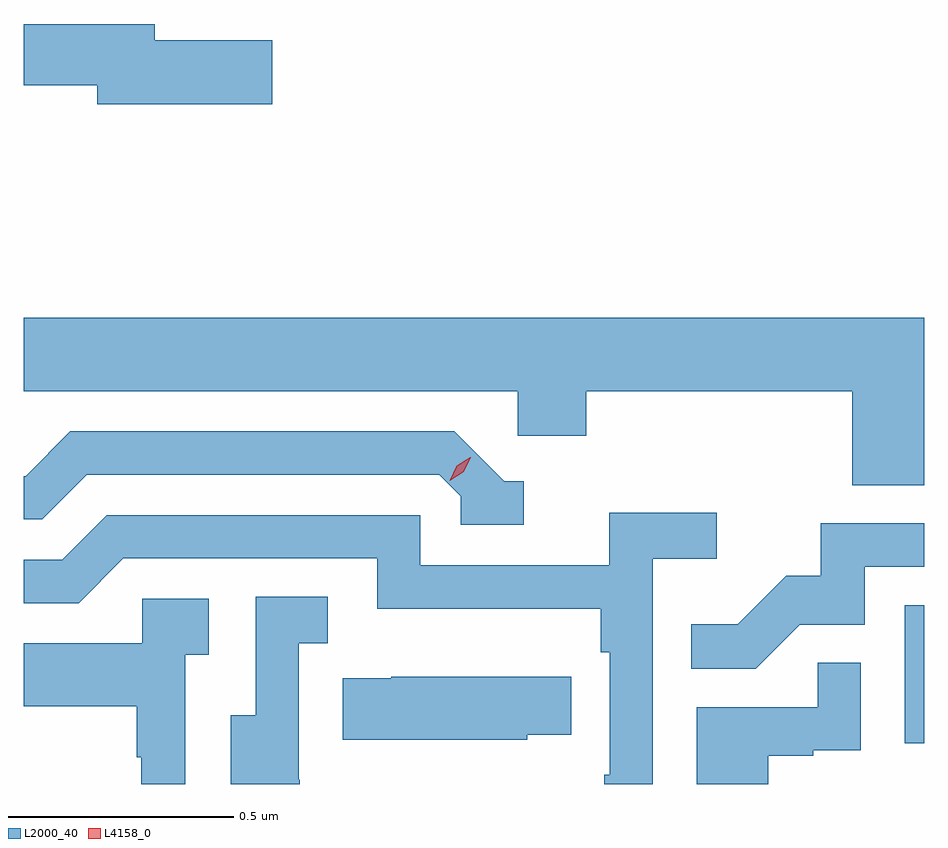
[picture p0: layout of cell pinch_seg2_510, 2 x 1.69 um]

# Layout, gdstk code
import gdstk
lib = gdstk.Library(unit=1e-6, precision=1e-09)
def R(c, l, rs):  # rectangles x0, y0, x1, y1
    for r in rs: c.add(gdstk.rectangle(r[:2], r[2:], *l))
def P(c, l, *ps):  # polygons
    for p in ps: c.add(gdstk.Polygon(p, *l))
L2000_40 = (2000, 40)
L4158_0 = (4158, 0)

pinch_seg2_510 = lib.new_cell('pinch_seg2_510')
R(pinch_seg2_510, L2000_40, [(962.564,585.582,962.607,585.889)])
P(pinch_seg2_510, L2000_40, [(961.159,587.144),(960.898,587.144),(960.898,587.18),(960.607,587.18),(960.607,587.044),(960.77,587.044),(960.77,587.002),(961.159,587.002)],
  [(962.607,586.528),(960.607,586.528),(960.607,586.364),(961.704,586.364),(961.704,586.266),(961.856,586.266),(961.856,586.364),(962.447,586.364),(962.447,586.156),(962.607,586.156)],
  [(961.717,586.164),(961.674,586.164),(961.563,586.275),(960.71,586.275),(960.611,586.176),(960.607,586.176),(960.607,586.08),(960.648,586.08),(960.747,586.179),(961.53,586.179),(961.578,586.131),(961.578,586.068),(961.717,586.068)],
  [(962.004,585.992),(962.146,585.992),(962.146,586.094),(961.907,586.094),(961.907,585.978),(961.488,585.978),(961.488,586.089),(960.791,586.089),(960.692,585.99),(960.607,585.99),(960.607,585.894),(960.729,585.894),(960.828,585.993),(961.392,585.993),(961.392,585.881),(961.888,585.881),(961.888,585.785),(961.908,585.785),(961.908,585.512),(961.896,585.512),(961.896,585.492),(962.004,585.492)],
  [(962.331,585.846),(962.475,585.846),(962.475,585.975),(962.607,585.975),(962.607,586.071),(962.377,586.071),(962.377,585.954),(962.3,585.954),(962.193,585.847),(962.089,585.847),(962.089,585.748),(962.233,585.748)],
  [(961.22,585.501),(961.218,585.501),(961.218,585.805),(961.282,585.805),(961.282,585.908),(961.122,585.908),(961.122,585.645),(961.067,585.645),(961.067,585.492),(961.22,585.492)],
  [(960.966,585.779),(961.018,585.779),(961.018,585.903),(960.87,585.903),(960.87,585.805),(960.607,585.805),(960.607,585.665),(960.858,585.665),(960.858,585.551),(960.868,585.551),(960.868,585.492),(960.966,585.492)],
  [(962.26,585.555),(962.36,585.555),(962.36,585.567),(962.466,585.567),(962.466,585.761),(962.371,585.761),(962.371,585.663),(962.102,585.663),(962.102,585.492),(962.26,585.492)],
  [(961.725,585.601),(961.823,585.601),(961.823,585.73),(961.423,585.73),(961.423,585.727),(961.315,585.727),(961.315,585.59),(961.725,585.59)])
P(pinch_seg2_510, L4158_0, [(961.553,586.166),(961.553,586.166),(961.569,586.199),(961.599,586.218),(961.6,586.218),(961.6,586.218),(961.584,586.186),(961.553,586.166)])

lib.write_gds('pinch_seg2_510.gds')
